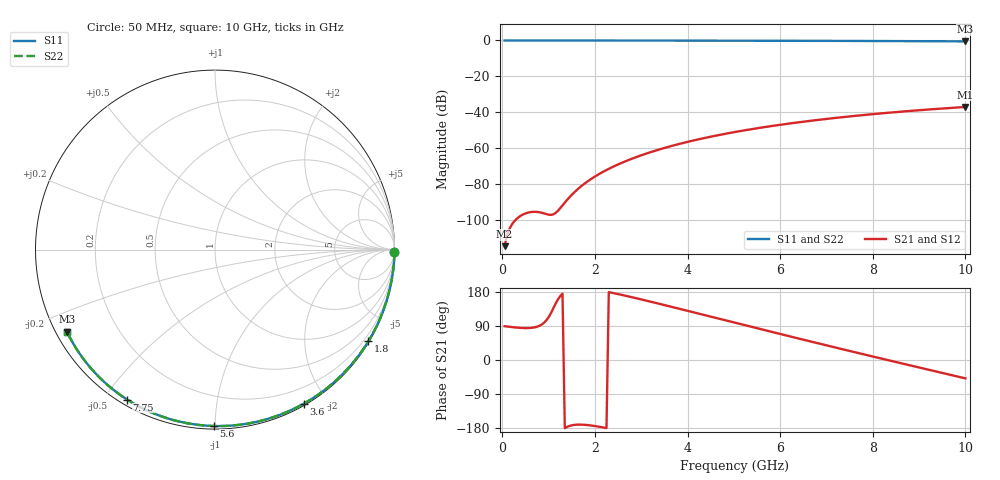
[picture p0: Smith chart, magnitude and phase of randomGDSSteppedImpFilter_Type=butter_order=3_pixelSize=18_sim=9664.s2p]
! freq	dB(S11)	phase(S11)	dB(S12)	phase(S12)
!  dB(S21)	phase(S21)	dB(S22)	phase(S22)
!S-par simulation data
#  GHz  S  DB  R 50
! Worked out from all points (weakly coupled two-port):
!   200 points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, 50 MHz to 10 GHz, reference 50 ohm
!   highest |S21| = -37.06 dB at 10 GHz (marker M1); lowest = -114.6 dB at 50 MHz (marker M2)
!   lowest |S11| = -0.5 dB at 10 GHz (marker M3), VSWR 34.19, Z = 1.56 - j12.9 ohm
!   |S11| at or under -10 dB: nowhere
!   |S22| runs from -0.5 to 0.0 dB; largest |S21 - S12| = 0
!   S11 on the Smith chart (normalised r, x): 50 MHz: open; 1.8 GHz: 0.03, -3.63; 3.6 GHz: 0.02, -1.73; 5.6 GHz: 0.02, -0.99; 7.75 GHz: 0.02, -0.57; 10 GHz: 0.03, -0.26
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0.05  -0.00 -0.9  -114.61 89.2  -114.61 89.2  -0.00 -0.9
0.45  -0.01 -7.8  -96.93 84.3  -96.93 84.3  -0.01 -7.8
0.9  -0.02 -15.6  -96.34 98.2  -96.34 98.2  -0.02 -15.6
1.3  -0.03 -22.4  -91.87 175.2  -91.87 175.2  -0.03 -22.4
1.75  -0.04 -30.0  -80.26 -170.8  -80.26 -170.8  -0.04 -30.0
1.8  -0.04 -30.8  -79.28 -171.3  -79.28 -171.3  -0.04 -30.8
1.95  -0.04 -33.3  -76.62 -173.4  -76.62 -173.4  -0.04 -33.4
2.1  -0.05 -35.8  -74.28 -176.3  -74.28 -176.3  -0.05 -35.8
2.3  -0.05 -39.2  -71.51 179.1  -71.51 179.1  -0.05 -39.2
2.5  -0.05 -42.5  -69.06 174.0  -69.06 174.0  -0.05 -42.5
2.9  -0.06 -49.0  -64.90 162.8  -64.90 162.8  -0.06 -49.0
3.4  -0.08 -57.0  -60.64 148.0  -60.64 148.0  -0.08 -57.0
3.6  -0.08 -60.1  -59.16 142.0  -59.16 142.0  -0.08 -60.1
4.3  -0.10 -71.0  -54.72 120.6  -54.72 120.6  -0.10 -71.0
5.05  -0.13 -82.3  -50.88 97.6  -50.88 97.6  -0.13 -82.3
5.6  -0.15 -90.3  -48.52 80.8  -48.52 80.8  -0.15 -90.3
6.15  -0.18 -98.2  -46.45 64.1  -46.45 64.1  -0.18 -98.2
6.7  -0.21 -105.9  -44.62 47.6  -44.62 47.6  -0.21 -105.9
7.75  -0.28 -120.4  -41.67 16.5  -41.67 16.5  -0.28 -120.4
8.35  -0.33 -128.5  -40.24 -1.0  -40.24 -1.0  -0.33 -128.5
9.2  -0.41 -140.0  -38.47 -25.5  -38.47 -25.5  -0.41 -140.0
10  -0.51 -150.9  -37.06 -48.5  -37.06 -48.5  -0.51 -150.9
